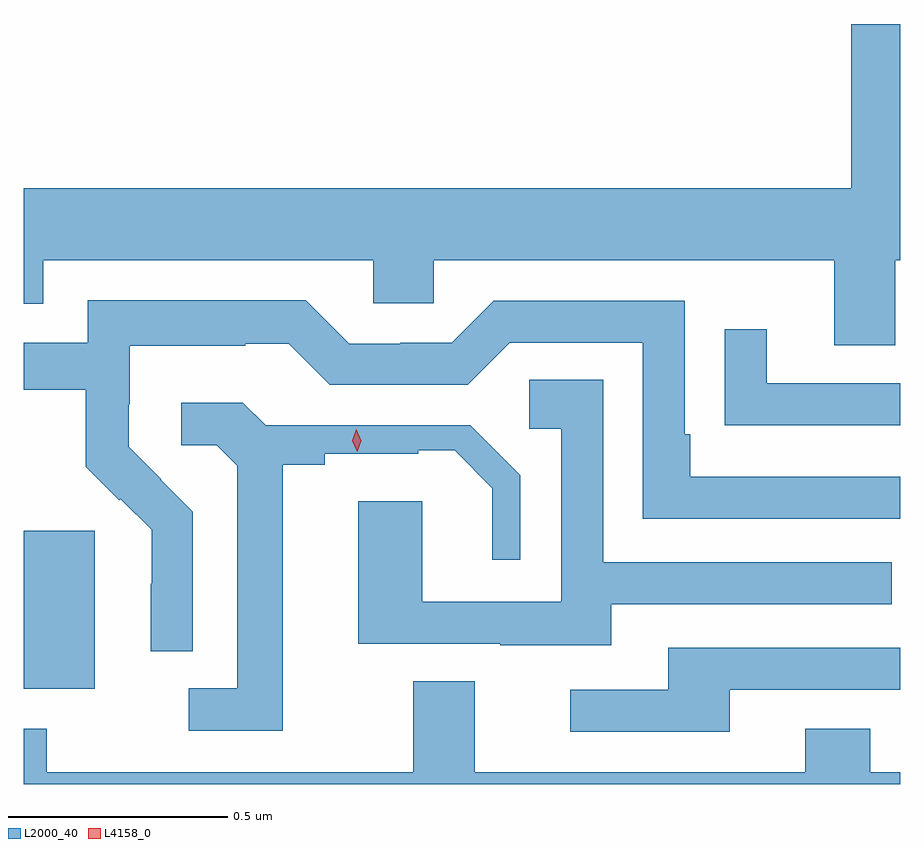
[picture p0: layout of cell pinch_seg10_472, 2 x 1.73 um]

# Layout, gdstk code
import gdstk
lib = gdstk.Library(unit=1e-6, precision=1e-09)
def R(c, l, rs):  # rectangles x0, y0, x1, y1
    for r in rs: c.add(gdstk.rectangle(r[:2], r[2:], *l))
def P(c, l, *ps):  # polygons
    for p in ps: c.add(gdstk.Polygon(p, *l))
L2000_40 = (2000, 40)
L4158_0 = (4158, 0)

pinch_seg10_472 = lib.new_cell('pinch_seg10_472')
R(pinch_seg10_472, L2000_40, [(354.928,1309.994,355.09,1310.355)])
P(pinch_seg10_472, L2000_40, [(356.917,1310.972),(356.928,1310.972),(356.928,1311.511),(356.816,1311.511),(356.816,1311.136),(354.928,1311.136),(354.928,1310.873),(354.973,1310.873),(354.973,1310.972),(355.725,1310.972),(355.725,1310.874),(355.863,1310.874),(355.863,1310.972),(356.777,1310.972),(356.777,1310.778),(356.917,1310.778)],
  [(355.314,1310.398),(355.241,1310.471),(355.242,1310.472),(355.168,1310.546),(355.168,1310.643),(355.17,1310.643),(355.17,1310.777),(355.433,1310.777),(355.433,1310.781),(355.533,1310.781),(355.626,1310.688),(355.941,1310.688),(356.037,1310.784),(356.34,1310.784),(356.34,1310.382),(356.928,1310.382),(356.928,1310.478),(356.449,1310.478),(356.449,1310.575),(356.436,1310.575),(356.436,1310.88),(356.001,1310.88),(355.905,1310.784),(355.787,1310.784),(355.787,1310.781),(355.671,1310.781),(355.571,1310.881),(355.074,1310.881),(355.074,1310.784),(354.928,1310.784),(354.928,1310.676),(355.069,1310.676),(355.069,1310.501),(355.146,1310.424),(355.149,1310.427),(355.22,1310.357),(355.22,1310.234),(355.218,1310.234),(355.218,1310.08),(355.314,1310.08)],
  [(356.928,1310.691),(356.623,1310.691),(356.623,1310.815),(356.527,1310.815),(356.527,1310.596),(356.629,1310.596),(356.629,1310.595),(356.928,1310.595)],
  [(356.269,1310.187),(356.909,1310.187),(356.909,1310.283),(356.25,1310.283),(356.25,1310.699),(356.082,1310.699),(356.082,1310.588),(356.154,1310.588),(356.154,1310.193),(355.837,1310.193),(355.837,1310.422),(355.691,1310.422),(355.691,1310.097),(356.015,1310.097),(356.015,1310.093),(356.269,1310.093)],
  [(355.519,1310.505),(355.615,1310.505),(355.615,1310.53),(355.828,1310.53),(355.828,1310.538),(355.911,1310.538),(355.997,1310.452),(355.997,1310.289),(356.061,1310.289),(356.061,1310.481),(355.947,1310.595),(355.48,1310.595),(355.428,1310.647),(355.287,1310.647),(355.287,1310.55),(355.368,1310.55),(355.415,1310.503),(355.415,1309.995),(355.305,1309.995),(355.305,1309.899),(355.519,1309.899)],
  [(356.539,1309.992),(356.928,1309.992),(356.928,1310.088),(356.399,1310.088),(356.399,1309.992),(356.175,1309.992),(356.175,1309.896),(356.539,1309.896)],
  [(356.928,1309.804),(356.859,1309.804),(356.859,1309.903),(356.711,1309.903),(356.711,1309.804),(355.957,1309.804),(355.957,1310.012),(355.817,1310.012),(355.817,1309.804),(354.981,1309.804),(354.981,1309.903),(354.928,1309.903),(354.928,1309.777),(356.928,1309.777)])
P(pinch_seg10_472, L4158_0, [(355.689,1310.535),(355.689,1310.535),(355.678,1310.56),(355.687,1310.586),(355.687,1310.586),(355.687,1310.586),(355.698,1310.56),(355.689,1310.535)])

lib.write_gds('pinch_seg10_472.gds')
